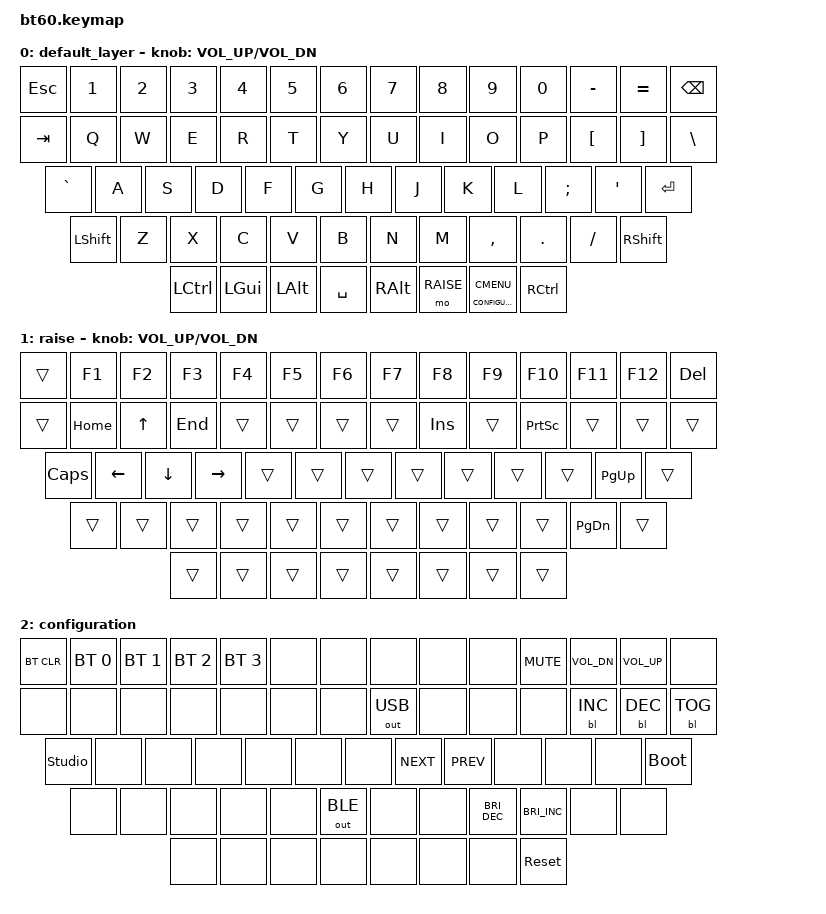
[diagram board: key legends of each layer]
#include <behaviors.dtsi>
#include <dt-bindings/zmk/keys.h>
#include <dt-bindings/zmk/bt.h>
#include <dt-bindings/zmk/rgb.h>
#include <dt-bindings/zmk/backlight.h>
#include <dt-bindings/zmk/outputs.h>

#define DEFAULT 0
#define RAISE 1
#define CONFIGURATION 2

/ {
	keymap {
		compatible = "zmk,keymap";

		default_layer {
// ------------------------------------------------------------------------------------------
// | ESC |  1  |  2  |  3  |  4  |  5  |  6  |  7  |  8  |  9  |  0  |  -  |  =  |   BKSP
// | TAB  |  Q  |  W  |  E  |  R  |  T  |  Y  |  U  |  I  |  O  |  P  |  [  |  ]  |  \  |
// | GRAVE  |  A  |  S  |  D  |  F  |  G  |  H  |  J  |  K  |  L  |  ;  |  '  |     ENTER
// |  SHIFT    |  Z  |  X  |  C  |  V  |  B  |  N  |  M  |  ,  |  .  | /   |      SHIFT
// |  CTL  |  WIN  |  ALT  |            SPACE               | ALT | 1    |  MENU    |  CTRL
// ------------------------------------------------------------------------------------------
			bindings = <
				&kp ESC &kp N1 &kp N2 &kp N3 &kp N4 &kp N5 &kp N6 &kp N7 &kp  N8   &kp  N9 &kp  N0  &kp MINUS &kp EQUAL &kp BSPC
				&kp TAB  &kp Q  &kp W  &kp E  &kp R  &kp T  &kp Y  &kp U  &kp  I    &kp  O  &kp  P   &kp LBKT &kp RBKT   &kp BSLH
				&kp GRAVE  &kp A  &kp S  &kp D  &kp F  &kp G  &kp H  &kp J  &kp  K    &kp  L  &kp SEMI &kp SQT            &kp RET
				&kp LSHFT  &kp Z  &kp X  &kp C  &kp V  &kp B  &kp N  &kp M  &kp COMMA &kp DOT &kp FSLH                   &kp RSHFT
				&kp LCTRL &kp LGUI &kp LALT            &kp SPACE                          &kp RALT  &mo RAISE &lt CONFIGURATION K_CMENU    &kp RCTRL
			>;
			sensor-bindings = <&inc_dec_kp C_VOL_UP C_VOL_DN>;
		};
		raise {
// ------------------------------------------------------------------------------------------
// |   | F1  | F2  |  F3  | F4  | F5  | F6  | F7  | F8  | F9  | F10 | F11 | F12 |   DEL
// |    | HOME | UP  | END |     |     |     |     | INS |     | PTSC |     |       |       |
// | CAPS |  LEFT  | DOWN | RIGHT |     |     |     |     |     |     |     | PGUP |     
// |          |      |     |      |        |        |      |      |      |      | PGDW  |      
// |        |       |       |                               |     |     |           |  
// ------------------------------------------------------------------------------------------
			bindings = <
				&trans &kp F1 &kp F2 &kp F3 &kp F4 &kp F5 &kp F6 &kp F7 &kp F8 &kp F9 &kp F10 &kp F11 &kp F12 &kp DEL
				&trans &kp HOME &kp UP &kp END &trans &trans &trans &trans &kp INS &trans &kp PSCRN &trans &trans &trans
				&kp CAPS &kp LEFT &kp DOWN &kp RIGHT &trans &trans &trans &trans &trans &trans &trans  &kp PG_UP   &trans
				&trans &trans &trans &trans &trans &trans &trans &trans &trans &trans &kp PG_DN  &trans
				&trans &trans  &trans              &trans                            &trans   &trans   &trans &trans
			>;
			sensor-bindings = <&inc_dec_kp C_VOL_UP C_VOL_DN>;
		};
		configuration {
// ------------------------------------------------------------------------------------------
// | BT_CLR | BT 0 | BT 1 | BT 3 | BT 4 |     |     |     |     |     | MUTE | VOL_DN | VOL_UP |      
// |    |      |     |     |     |     |     | USB_OUT |     |     |      | BL_INC | BL_DEC |  BL_TOG  |
// |     |        |      |       |     |     |     |     |     |     |     |      | BOOTLOADER
// |          |      |      |      |        | BT_OUT |      |      |      |      |       |            
// |        |       |       |                               |     |     |           | RESET
// ------------------------------------------------------------------------------------------
			bindings = <
				&bt BT_CLR &bt BT_SEL 0 &bt BT_SEL 1 &bt BT_SEL 2 &bt BT_SEL 3 &none &none &none &none &none &kp C_MUTE &kp C_VOL_DN &kp C_VOL_UP &none
				&none &none &none &none &none &none &none &out OUT_USB &none &none &none &bl BL_INC &bl BL_DEC &bl BL_TOG
				&studio_unlock &none &none &none &none &none &none &kp C_NEXT &kp C_PREV &none &none &none &bootloader
				&none &none &none &none &none &out OUT_BLE &none &none &kp C_BRI_DEC &kp C_BRI_INC &none &none
				&none &none &none                    &none                        &none &none &none &sys_reset
			>;
		};
	};
};
